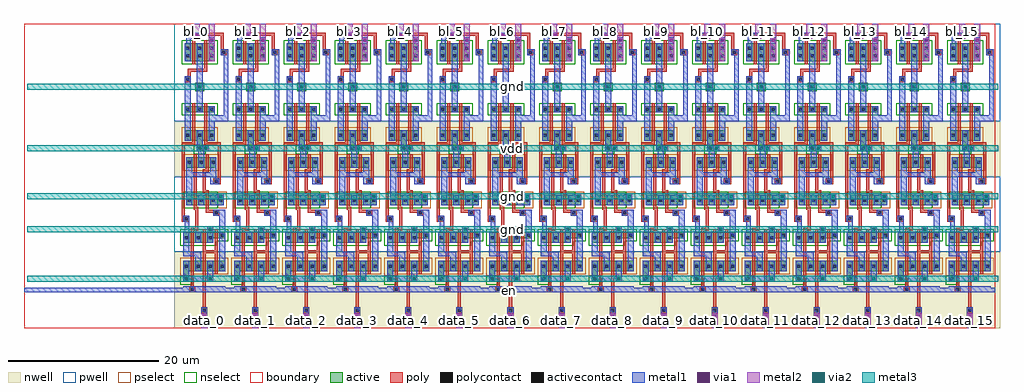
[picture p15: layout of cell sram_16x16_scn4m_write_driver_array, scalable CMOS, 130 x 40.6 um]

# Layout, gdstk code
import gdstk
lib = gdstk.Library(unit=1e-6, precision=1e-09)
def R(c, l, rs):  # rectangles x0, y0, x1, y1
    for r in rs: c.add(gdstk.rectangle(r[:2], r[2:], *l))
def A(c, l, x, y, w, h, nx, ny, dx, dy):  # array of equal rectangles
    R(c, l, [(x+i*dx, y+j*dy, x+i*dx+w, y+j*dy+h) for i in range(nx) for j in range(ny)])
def P(c, l, *ps):  # polygons
    for p in ps: c.add(gdstk.Polygon(p, *l))
pwell = (41, 0)
nwell = (42, 0)
active = (43, 0)
pselect = (44, 0)
nselect = (45, 0)
poly = (46, 0)
polycontact = (47, 0)
activecontact = (48, 0)
metal1 = (49, 0)
via1 = (50, 0)
metal2 = (51, 0)
via2 = (61, 0)
metal3 = (62, 0)
boundary = (63, 0)

write_driver = lib.new_cell('write_driver')
R(write_driver, pwell, [(-0.6,10.2,7.4,20.2), (-0.6,27.6,7.4,40.6)])
R(write_driver, nwell, [(-0.6,0,7.4,10.2), (-0.6,20.2,7.4,27.6)])
R(write_driver, active, [(0.6,6.2,1.4,7.6), (0.6,7.6,6.2,9), (0.6,11.4,4.6,12), (0.6,12,6.2,12.8), (1,16.4,6,17.8), (1,21.4,5,22.8), (2.4,23.6,3.2,25), (0.8,25,4.8,26.4), (0.8,28.8,4.8,29.6), (2.2,31.6,3.4,32.7), (0.8,35.6,4.8,38)])
R(write_driver, pselect, [(0.2,7,1.8,7.2), (0.2,7.2,6.6,9.4), (5.2,16,6.4,18.2), (0.6,21,5.4,23.2), (2,24.4,3.6,24.6), (0.4,24.6,5.2,26.8), (2.2,31.6,3.4,32.7)])
R(write_driver, nselect, [(0.2,5.8,1.8,7), (0.2,11,5,11.6), (0.2,11.6,6.6,13.2), (0.6,16,5.2,18.2), (2,23.2,3.6,24.4), (0.4,28.4,5.2,30), (0.4,35.2,5.2,38.4)])
R(write_driver, poly, [(3,2,3.8,2.8), (3.2,2.8,3.6,10), (1.4,4.8,2.2,5.6), (1.6,5.6,2,13), (4.8,7.2,5.2,10), (3.2,10,5.2,10.4), (3.2,10.4,3.6,13.2), (4.8,10.4,5.2,13.2), (1.6,13,2.6,13.4), (2.2,13.4,2.6,15.8), (0.4,14.2,1.4,15), (0.4,15,0.8,24.4), (4.6,15,5.4,15.4), (3.6,15.4,5.4,15.8), (2,15.8,2.6,16.2), (3.6,15.8,4,18), (2,16.2,2.4,23.2), (3.2,18,4,18.4), (3.2,18.4,3.6,20.8), (4.6,19.2,5.6,20), (5.2,20,5.6,24.4), (3.2,20.8,4,21.2), (3.6,21.2,4,23.2), (0.4,24.4,2.2,24.8), (3.4,24.4,5.6,24.8), (1.8,24.8,2.2,30), (3.4,24.8,3.8,30), (0.8,32.8,1.6,33.6), (1.2,33.6,1.6,34.2), (1.2,34.2,3.8,34.6), (3.4,34.6,3.8,38.4), (1.8,35.2,2.2,39), (5.6,36.4,6.4,37.2), (5.6,37.2,6,39), (1.8,39,6,39.4)])
R(write_driver, polycontact, [(3.2,2.2,3.6,2.6), (1.6,5,2,5.4), (0.8,14.4,1.2,14.8), (4.8,15.2,5.2,15.6), (4.8,19.4,5.2,19.8), (1,33,1.4,33.4), (5.8,36.6,6.2,37)])
A(write_driver, activecontact, 0.8, 8.1, 0.4, 0.4, 4, 1, 1.6, 0)
A(write_driver, activecontact, 0.8, 11.9, 0.4, 0.4, 3, 1, 1.6, 0)
A(write_driver, activecontact, 1.2, 16.9, 0.4, 0.4, 3, 2, 1.6, 5)
A(write_driver, activecontact, 1, 25.5, 0.4, 0.4, 3, 2, 1.6, 3.5)
A(write_driver, activecontact, 1, 36.1, 0.4, 0.4, 3, 2, 1.6, 1)
R(write_driver, activecontact, [(0.8,6.4,1.2,6.8), (5.6,12.2,6,12.6), (5.4,16.9,5.8,17.3), (2.6,23.8,3,24.2), (2.6,32,3,32.4)])
R(write_driver, metal1, [(3,1.2,3.8,2.8), (0.6,4.8,6.2,5.6), (0.6,4.8,6.2,5.6), (0.6,6.2,4.6,7), (0.6,7,1.4,9), (3.8,7,4.6,9), (2.2,7.6,3,9.6), (5.4,7.6,6.2,15), (0.6,9.6,3,10.2), (0.6,10.2,1.4,12.8), (2.2,11.4,3,12.8), (3.8,11.4,4.6,13.6), (0.8,12.8,1.4,14.2), (0.6,14.2,1.4,15), (4.6,15,6.2,15.8), (1,16.4,1.8,20.2), (2.6,16.4,3.4,17.8), (4.2,16.4,6,17.8), (5,17.8,6,18), (4.2,19.2,5.4,20), (4.2,20,5,20.2), (1,20.2,5,20.8), (1,20.8,1.8,22.8), (4.2,20.8,5,22.8), (2.6,21.4,3.4,23.6), (2.4,23.6,4,24.4), (2.4,24.4,3.2,26.4), (0.8,25,1.6,33.6), (4,25,4.8,27.6), (4,27.6,6.6,28.4), (4,28.4,4.8,29.6), (6,28.4,6.6,36.4), (0.8,35.6,1.6,38), (4,35.6,4.8,38.8), (5.6,36.4,6.6,37.2), (1,38,1.6,38.6), (1,38.6,2.8,39.4)])
P(write_driver, metal1, [(2.4,28.8),(2.4,31.695),(2.4,38),(3.2,38),(3.2,28.8)])
R(write_driver, via1, [(3.2,1.4,3.6,1.8), (4,6.4,4.4,6.8), (4,13,4.4,13.4), (5.4,17.4,5.8,17.8), (3.4,23.8,3.8,24.2), (2.6,32,3,32.4), (4.2,38.2,4.6,38.6), (2.2,38.8,2.6,39.2)])
R(write_driver, metal2, [(3,0,3.8,2), (3,0,3.8,2), (3.8,6.2,4.6,7), (3.8,6.2,4.6,7), (3.8,12.8,4.6,13.6), (3.8,12.8,4.6,13.6), (5.2,17.2,6,18), (5.2,17.2,6,18), (3.2,23.6,4,24.4), (3.2,23.6,4,24.4), (2.4,31.8,3.2,32.6), (2.4,31.8,3.2,32.6), (4,35.6,4.8,40.6), (4,35.6,4.8,40.6), (2,38.6,2.8,40.6), (2,38.6,2.8,40.6)])
R(write_driver, boundary, [(0,0,6.8,40.6)])
write_driver.add(gdstk.Label('en', (3.4,5.2), layer=49, texttype=0))
write_driver.add(gdstk.Label('din', (3,0.2), layer=51, texttype=0))
write_driver.add(gdstk.Label('gnd', (4.2,13.2), layer=51, texttype=0))
write_driver.add(gdstk.Label('gnd', (5.6,17.6), layer=51, texttype=0))
write_driver.add(gdstk.Label('vdd', (4.2,6.6), layer=51, texttype=0))
write_driver.add(gdstk.Label('vdd', (3.6,24), layer=51, texttype=0))
write_driver.add(gdstk.Label('bl', (2.4,40.2), layer=51, texttype=0))
write_driver.add(gdstk.Label('br', (4.4,40.2), layer=51, texttype=0))
write_driver.add(gdstk.Label('gnd', (2.8,32.2), layer=51, texttype=0))
write_driver.add(gdstk.Label('din', (3.4,1), layer=51, texttype=0))
write_driver.add(gdstk.Label('bl', (2.4,39.6), layer=51, texttype=0))
write_driver.add(gdstk.Label('br', (4.4,38.1), layer=51, texttype=0))
write_driver.add(gdstk.Label('en', (3.4,5.2), layer=49, texttype=0))
write_driver.add(gdstk.Label('vdd', (4.2,6.6), layer=51, texttype=0))
write_driver.add(gdstk.Label('vdd', (3.6,24), layer=51, texttype=0))
write_driver.add(gdstk.Label('gnd', (4.2,13.2), layer=51, texttype=0))
write_driver.add(gdstk.Label('gnd', (5.6,17.6), layer=51, texttype=0))
write_driver.add(gdstk.Label('gnd', (2.8,32.2), layer=51, texttype=0))

sram_16x16_scn4m_contact = lib.new_cell('sram_16x16_scn4m_contact_19')
R(sram_16x16_scn4m_contact, metal2, [(0,0,0.8,0.8)])
R(sram_16x16_scn4m_contact, via2, [(0.2,0.2,0.6,0.6)])
R(sram_16x16_scn4m_contact, metal3, [(0,0,0.8,0.8)])
R(sram_16x16_scn4m_contact, boundary, [(0,0,0.8,0.8)])

sram_16x16_scn4m_write_d = lib.new_cell('sram_16x16_scn4m_write_driver_array')
R(sram_16x16_scn4m_write_d, metal1, [(0,4.8,129.4,5.4)])
A(sram_16x16_scn4m_write_d, metal2, 23.6, 0, 0.8, 2, 16, 1, 6.8, 0)
A(sram_16x16_scn4m_write_d, metal2, 24.6, 35.6, 0.8, 5, 16, 1, 6.8, 0)
A(sram_16x16_scn4m_write_d, metal2, 22.6, 38.6, 0.8, 2, 16, 1, 6.8, 0)
R(sram_16x16_scn4m_write_d, metal3, [(0.4,6.2,129.8,7), (0.4,12.8,129.8,13.6), (0.4,17.2,129.8,18), (0.4,23.6,129.8,24.4), (0.4,31.8,129.8,32.6)])
R(sram_16x16_scn4m_write_d, boundary, [(0,0,129.4,40.6)])
sram_16x16_scn4m_write_d.add(gdstk.Reference(write_driver, (20.6,0)))
sram_16x16_scn4m_write_d.add(gdstk.Reference(write_driver, (27.4,0)))
sram_16x16_scn4m_write_d.add(gdstk.Reference(write_driver, (34.2,0)))
sram_16x16_scn4m_write_d.add(gdstk.Reference(write_driver, (41,0)))
sram_16x16_scn4m_write_d.add(gdstk.Reference(write_driver, (47.8,0)))
sram_16x16_scn4m_write_d.add(gdstk.Reference(write_driver, (54.6,0)))
sram_16x16_scn4m_write_d.add(gdstk.Reference(write_driver, (61.4,0)))
sram_16x16_scn4m_write_d.add(gdstk.Reference(write_driver, (68.2,0)))
sram_16x16_scn4m_write_d.add(gdstk.Reference(write_driver, (75,0)))
sram_16x16_scn4m_write_d.add(gdstk.Reference(write_driver, (81.8,0)))
sram_16x16_scn4m_write_d.add(gdstk.Reference(write_driver, (88.6,0)))
sram_16x16_scn4m_write_d.add(gdstk.Reference(write_driver, (95.4,0)))
sram_16x16_scn4m_write_d.add(gdstk.Reference(write_driver, (102.2,0)))
sram_16x16_scn4m_write_d.add(gdstk.Reference(write_driver, (109,0)))
sram_16x16_scn4m_write_d.add(gdstk.Reference(write_driver, (115.8,0)))
sram_16x16_scn4m_write_d.add(gdstk.Reference(write_driver, (122.6,0)))
sram_16x16_scn4m_write_d.add(gdstk.Reference(sram_16x16_scn4m_contact, (24.4,6.2)))
sram_16x16_scn4m_write_d.add(gdstk.Reference(sram_16x16_scn4m_contact, (31.2,6.2)))
sram_16x16_scn4m_write_d.add(gdstk.Reference(sram_16x16_scn4m_contact, (38,6.2)))
sram_16x16_scn4m_write_d.add(gdstk.Reference(sram_16x16_scn4m_contact, (44.8,6.2)))
sram_16x16_scn4m_write_d.add(gdstk.Reference(sram_16x16_scn4m_contact, (51.6,6.2)))
sram_16x16_scn4m_write_d.add(gdstk.Reference(sram_16x16_scn4m_contact, (58.4,6.2)))
sram_16x16_scn4m_write_d.add(gdstk.Reference(sram_16x16_scn4m_contact, (65.2,6.2)))
sram_16x16_scn4m_write_d.add(gdstk.Reference(sram_16x16_scn4m_contact, (72,6.2)))
sram_16x16_scn4m_write_d.add(gdstk.Reference(sram_16x16_scn4m_contact, (78.8,6.2)))
sram_16x16_scn4m_write_d.add(gdstk.Reference(sram_16x16_scn4m_contact, (85.6,6.2)))
sram_16x16_scn4m_write_d.add(gdstk.Reference(sram_16x16_scn4m_contact, (92.4,6.2)))
sram_16x16_scn4m_write_d.add(gdstk.Reference(sram_16x16_scn4m_contact, (99.2,6.2)))
sram_16x16_scn4m_write_d.add(gdstk.Reference(sram_16x16_scn4m_contact, (106,6.2)))
sram_16x16_scn4m_write_d.add(gdstk.Reference(sram_16x16_scn4m_contact, (112.8,6.2)))
sram_16x16_scn4m_write_d.add(gdstk.Reference(sram_16x16_scn4m_contact, (119.6,6.2)))
sram_16x16_scn4m_write_d.add(gdstk.Reference(sram_16x16_scn4m_contact, (126.4,6.2)))
sram_16x16_scn4m_write_d.add(gdstk.Reference(sram_16x16_scn4m_contact, (23.8,23.6)))
sram_16x16_scn4m_write_d.add(gdstk.Reference(sram_16x16_scn4m_contact, (30.6,23.6)))
sram_16x16_scn4m_write_d.add(gdstk.Reference(sram_16x16_scn4m_contact, (37.4,23.6)))
sram_16x16_scn4m_write_d.add(gdstk.Reference(sram_16x16_scn4m_contact, (44.2,23.6)))
sram_16x16_scn4m_write_d.add(gdstk.Reference(sram_16x16_scn4m_contact, (51,23.6)))
sram_16x16_scn4m_write_d.add(gdstk.Reference(sram_16x16_scn4m_contact, (57.8,23.6)))
sram_16x16_scn4m_write_d.add(gdstk.Reference(sram_16x16_scn4m_contact, (64.6,23.6)))
sram_16x16_scn4m_write_d.add(gdstk.Reference(sram_16x16_scn4m_contact, (71.4,23.6)))
sram_16x16_scn4m_write_d.add(gdstk.Reference(sram_16x16_scn4m_contact, (78.2,23.6)))
sram_16x16_scn4m_write_d.add(gdstk.Reference(sram_16x16_scn4m_contact, (85,23.6)))
sram_16x16_scn4m_write_d.add(gdstk.Reference(sram_16x16_scn4m_contact, (91.8,23.6)))
sram_16x16_scn4m_write_d.add(gdstk.Reference(sram_16x16_scn4m_contact, (98.6,23.6)))
sram_16x16_scn4m_write_d.add(gdstk.Reference(sram_16x16_scn4m_contact, (105.4,23.6)))
sram_16x16_scn4m_write_d.add(gdstk.Reference(sram_16x16_scn4m_contact, (112.2,23.6)))
sram_16x16_scn4m_write_d.add(gdstk.Reference(sram_16x16_scn4m_contact, (119,23.6)))
sram_16x16_scn4m_write_d.add(gdstk.Reference(sram_16x16_scn4m_contact, (125.8,23.6)))
sram_16x16_scn4m_write_d.add(gdstk.Reference(sram_16x16_scn4m_contact, (24.4,12.8)))
sram_16x16_scn4m_write_d.add(gdstk.Reference(sram_16x16_scn4m_contact, (31.2,12.8)))
sram_16x16_scn4m_write_d.add(gdstk.Reference(sram_16x16_scn4m_contact, (38,12.8)))
sram_16x16_scn4m_write_d.add(gdstk.Reference(sram_16x16_scn4m_contact, (44.8,12.8)))
sram_16x16_scn4m_write_d.add(gdstk.Reference(sram_16x16_scn4m_contact, (51.6,12.8)))
sram_16x16_scn4m_write_d.add(gdstk.Reference(sram_16x16_scn4m_contact, (58.4,12.8)))
sram_16x16_scn4m_write_d.add(gdstk.Reference(sram_16x16_scn4m_contact, (65.2,12.8)))
sram_16x16_scn4m_write_d.add(gdstk.Reference(sram_16x16_scn4m_contact, (72,12.8)))
sram_16x16_scn4m_write_d.add(gdstk.Reference(sram_16x16_scn4m_contact, (78.8,12.8)))
sram_16x16_scn4m_write_d.add(gdstk.Reference(sram_16x16_scn4m_contact, (85.6,12.8)))
sram_16x16_scn4m_write_d.add(gdstk.Reference(sram_16x16_scn4m_contact, (92.4,12.8)))
sram_16x16_scn4m_write_d.add(gdstk.Reference(sram_16x16_scn4m_contact, (99.2,12.8)))
sram_16x16_scn4m_write_d.add(gdstk.Reference(sram_16x16_scn4m_contact, (106,12.8)))
sram_16x16_scn4m_write_d.add(gdstk.Reference(sram_16x16_scn4m_contact, (112.8,12.8)))
sram_16x16_scn4m_write_d.add(gdstk.Reference(sram_16x16_scn4m_contact, (119.6,12.8)))
sram_16x16_scn4m_write_d.add(gdstk.Reference(sram_16x16_scn4m_contact, (126.4,12.8)))
sram_16x16_scn4m_write_d.add(gdstk.Reference(sram_16x16_scn4m_contact, (25.8,17.2)))
sram_16x16_scn4m_write_d.add(gdstk.Reference(sram_16x16_scn4m_contact, (32.6,17.2)))
sram_16x16_scn4m_write_d.add(gdstk.Reference(sram_16x16_scn4m_contact, (39.4,17.2)))
sram_16x16_scn4m_write_d.add(gdstk.Reference(sram_16x16_scn4m_contact, (46.2,17.2)))
sram_16x16_scn4m_write_d.add(gdstk.Reference(sram_16x16_scn4m_contact, (53,17.2)))
sram_16x16_scn4m_write_d.add(gdstk.Reference(sram_16x16_scn4m_contact, (59.8,17.2)))
sram_16x16_scn4m_write_d.add(gdstk.Reference(sram_16x16_scn4m_contact, (66.6,17.2)))
sram_16x16_scn4m_write_d.add(gdstk.Reference(sram_16x16_scn4m_contact, (73.4,17.2)))
sram_16x16_scn4m_write_d.add(gdstk.Reference(sram_16x16_scn4m_contact, (80.2,17.2)))
sram_16x16_scn4m_write_d.add(gdstk.Reference(sram_16x16_scn4m_contact, (87,17.2)))
sram_16x16_scn4m_write_d.add(gdstk.Reference(sram_16x16_scn4m_contact, (93.8,17.2)))
sram_16x16_scn4m_write_d.add(gdstk.Reference(sram_16x16_scn4m_contact, (100.6,17.2)))
sram_16x16_scn4m_write_d.add(gdstk.Reference(sram_16x16_scn4m_contact, (107.4,17.2)))
sram_16x16_scn4m_write_d.add(gdstk.Reference(sram_16x16_scn4m_contact, (114.2,17.2)))
sram_16x16_scn4m_write_d.add(gdstk.Reference(sram_16x16_scn4m_contact, (121,17.2)))
sram_16x16_scn4m_write_d.add(gdstk.Reference(sram_16x16_scn4m_contact, (127.8,17.2)))
sram_16x16_scn4m_write_d.add(gdstk.Reference(sram_16x16_scn4m_contact, (23,31.8)))
sram_16x16_scn4m_write_d.add(gdstk.Reference(sram_16x16_scn4m_contact, (29.8,31.8)))
sram_16x16_scn4m_write_d.add(gdstk.Reference(sram_16x16_scn4m_contact, (36.6,31.8)))
sram_16x16_scn4m_write_d.add(gdstk.Reference(sram_16x16_scn4m_contact, (43.4,31.8)))
sram_16x16_scn4m_write_d.add(gdstk.Reference(sram_16x16_scn4m_contact, (50.2,31.8)))
sram_16x16_scn4m_write_d.add(gdstk.Reference(sram_16x16_scn4m_contact, (57,31.8)))
sram_16x16_scn4m_write_d.add(gdstk.Reference(sram_16x16_scn4m_contact, (63.8,31.8)))
sram_16x16_scn4m_write_d.add(gdstk.Reference(sram_16x16_scn4m_contact, (70.6,31.8)))
sram_16x16_scn4m_write_d.add(gdstk.Reference(sram_16x16_scn4m_contact, (77.4,31.8)))
sram_16x16_scn4m_write_d.add(gdstk.Reference(sram_16x16_scn4m_contact, (84.2,31.8)))
sram_16x16_scn4m_write_d.add(gdstk.Reference(sram_16x16_scn4m_contact, (91,31.8)))
sram_16x16_scn4m_write_d.add(gdstk.Reference(sram_16x16_scn4m_contact, (97.8,31.8)))
sram_16x16_scn4m_write_d.add(gdstk.Reference(sram_16x16_scn4m_contact, (104.6,31.8)))
sram_16x16_scn4m_write_d.add(gdstk.Reference(sram_16x16_scn4m_contact, (111.4,31.8)))
sram_16x16_scn4m_write_d.add(gdstk.Reference(sram_16x16_scn4m_contact, (118.2,31.8)))
sram_16x16_scn4m_write_d.add(gdstk.Reference(sram_16x16_scn4m_contact, (125,31.8)))
sram_16x16_scn4m_write_d.add(gdstk.Label('data_0', (24,1), layer=51, texttype=0))
sram_16x16_scn4m_write_d.add(gdstk.Label('bl_0', (23,39.6), layer=51, texttype=0))
sram_16x16_scn4m_write_d.add(gdstk.Label('br_0', (25,38.1), layer=51, texttype=0))
sram_16x16_scn4m_write_d.add(gdstk.Label('data_1', (30.8,1), layer=51, texttype=0))
sram_16x16_scn4m_write_d.add(gdstk.Label('bl_1', (29.8,39.6), layer=51, texttype=0))
sram_16x16_scn4m_write_d.add(gdstk.Label('br_1', (31.8,38.1), layer=51, texttype=0))
sram_16x16_scn4m_write_d.add(gdstk.Label('data_2', (37.6,1), layer=51, texttype=0))
sram_16x16_scn4m_write_d.add(gdstk.Label('bl_2', (36.6,39.6), layer=51, texttype=0))
sram_16x16_scn4m_write_d.add(gdstk.Label('br_2', (38.6,38.1), layer=51, texttype=0))
sram_16x16_scn4m_write_d.add(gdstk.Label('data_3', (44.4,1), layer=51, texttype=0))
sram_16x16_scn4m_write_d.add(gdstk.Label('bl_3', (43.4,39.6), layer=51, texttype=0))
sram_16x16_scn4m_write_d.add(gdstk.Label('br_3', (45.4,38.1), layer=51, texttype=0))
sram_16x16_scn4m_write_d.add(gdstk.Label('data_4', (51.2,1), layer=51, texttype=0))
sram_16x16_scn4m_write_d.add(gdstk.Label('bl_4', (50.2,39.6), layer=51, texttype=0))
sram_16x16_scn4m_write_d.add(gdstk.Label('br_4', (52.2,38.1), layer=51, texttype=0))
sram_16x16_scn4m_write_d.add(gdstk.Label('data_5', (58,1), layer=51, texttype=0))
sram_16x16_scn4m_write_d.add(gdstk.Label('bl_5', (57,39.6), layer=51, texttype=0))
sram_16x16_scn4m_write_d.add(gdstk.Label('br_5', (59,38.1), layer=51, texttype=0))
sram_16x16_scn4m_write_d.add(gdstk.Label('data_6', (64.8,1), layer=51, texttype=0))
sram_16x16_scn4m_write_d.add(gdstk.Label('bl_6', (63.8,39.6), layer=51, texttype=0))
sram_16x16_scn4m_write_d.add(gdstk.Label('br_6', (65.8,38.1), layer=51, texttype=0))
sram_16x16_scn4m_write_d.add(gdstk.Label('data_7', (71.6,1), layer=51, texttype=0))
sram_16x16_scn4m_write_d.add(gdstk.Label('bl_7', (70.6,39.6), layer=51, texttype=0))
sram_16x16_scn4m_write_d.add(gdstk.Label('br_7', (72.6,38.1), layer=51, texttype=0))
sram_16x16_scn4m_write_d.add(gdstk.Label('data_8', (78.4,1), layer=51, texttype=0))
sram_16x16_scn4m_write_d.add(gdstk.Label('bl_8', (77.4,39.6), layer=51, texttype=0))
sram_16x16_scn4m_write_d.add(gdstk.Label('br_8', (79.4,38.1), layer=51, texttype=0))
sram_16x16_scn4m_write_d.add(gdstk.Label('data_9', (85.2,1), layer=51, texttype=0))
sram_16x16_scn4m_write_d.add(gdstk.Label('bl_9', (84.2,39.6), layer=51, texttype=0))
sram_16x16_scn4m_write_d.add(gdstk.Label('br_9', (86.2,38.1), layer=51, texttype=0))
sram_16x16_scn4m_write_d.add(gdstk.Label('data_10', (92,1), layer=51, texttype=0))
sram_16x16_scn4m_write_d.add(gdstk.Label('bl_10', (91,39.6), layer=51, texttype=0))
sram_16x16_scn4m_write_d.add(gdstk.Label('br_10', (93,38.1), layer=51, texttype=0))
sram_16x16_scn4m_write_d.add(gdstk.Label('data_11', (98.8,1), layer=51, texttype=0))
sram_16x16_scn4m_write_d.add(gdstk.Label('bl_11', (97.8,39.6), layer=51, texttype=0))
sram_16x16_scn4m_write_d.add(gdstk.Label('br_11', (99.8,38.1), layer=51, texttype=0))
sram_16x16_scn4m_write_d.add(gdstk.Label('data_12', (105.6,1), layer=51, texttype=0))
sram_16x16_scn4m_write_d.add(gdstk.Label('bl_12', (104.6,39.6), layer=51, texttype=0))
sram_16x16_scn4m_write_d.add(gdstk.Label('br_12', (106.6,38.1), layer=51, texttype=0))
sram_16x16_scn4m_write_d.add(gdstk.Label('data_13', (112.4,1), layer=51, texttype=0))
sram_16x16_scn4m_write_d.add(gdstk.Label('bl_13', (111.4,39.6), layer=51, texttype=0))
sram_16x16_scn4m_write_d.add(gdstk.Label('br_13', (113.4,38.1), layer=51, texttype=0))
sram_16x16_scn4m_write_d.add(gdstk.Label('data_14', (119.2,1), layer=51, texttype=0))
sram_16x16_scn4m_write_d.add(gdstk.Label('bl_14', (118.2,39.6), layer=51, texttype=0))
sram_16x16_scn4m_write_d.add(gdstk.Label('br_14', (120.2,38.1), layer=51, texttype=0))
sram_16x16_scn4m_write_d.add(gdstk.Label('data_15', (126,1), layer=51, texttype=0))
sram_16x16_scn4m_write_d.add(gdstk.Label('bl_15', (125,39.6), layer=51, texttype=0))
sram_16x16_scn4m_write_d.add(gdstk.Label('br_15', (127,38.1), layer=51, texttype=0))
sram_16x16_scn4m_write_d.add(gdstk.Label('en', (64.7,5.1), layer=49, texttype=0))
sram_16x16_scn4m_write_d.add(gdstk.Label('vdd', (65.1,6.6), layer=62, texttype=0))
sram_16x16_scn4m_write_d.add(gdstk.Label('vdd', (65.1,24), layer=62, texttype=0))
sram_16x16_scn4m_write_d.add(gdstk.Label('gnd', (65.1,32.2), layer=62, texttype=0))
sram_16x16_scn4m_write_d.add(gdstk.Label('gnd', (65.1,13.2), layer=62, texttype=0))
sram_16x16_scn4m_write_d.add(gdstk.Label('gnd', (65.1,17.6), layer=62, texttype=0))

lib.write_gds('sram_16x16_scn4m_write_driver_array.gds')
